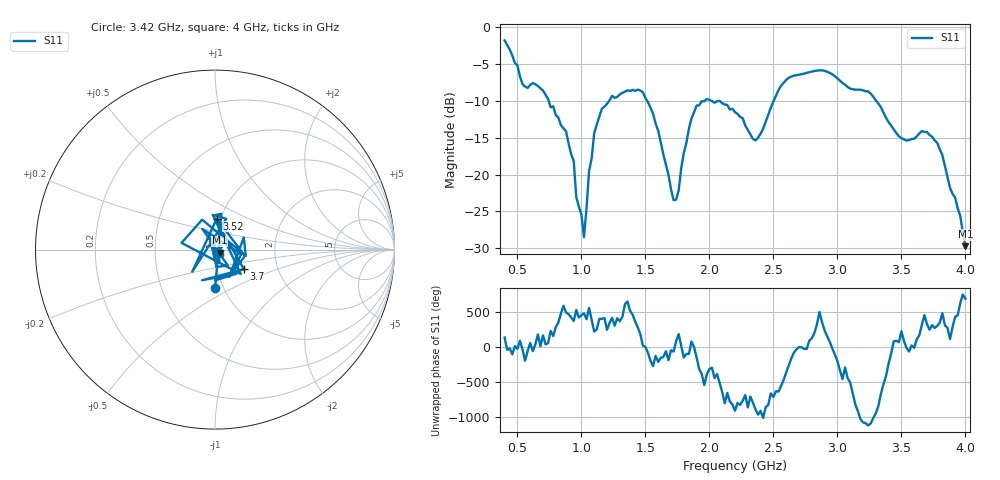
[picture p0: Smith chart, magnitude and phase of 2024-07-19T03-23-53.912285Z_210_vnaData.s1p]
!Created with skrf (http://scikit-rf.org).
# Hz S RI R 50.0
!freq ReS11 ImS11
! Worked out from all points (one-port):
!   181 points, 400 MHz to 4 GHz, reference 50 ohm
!   lowest |S11| = -29.7 dB at 4 GHz (marker M1), VSWR 1.07, Z = 52.8 - j1.88 ohm
!   |S11| at or under -10 dB: 744.4 MHz to 1.217 GHz (472.7 MHz wide, 48.2 % of centre); 2.017 GHz to 2.502 GHz (485.3 MHz wide, 21.5 % of centre); 3.304 GHz to end of sweep (the widest 3 of 4)
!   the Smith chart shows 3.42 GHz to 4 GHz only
!   S11 on the Smith chart (normalised r, x): 3.42 GHz: 0.91, -0.41; 3.52 GHz: 0.96, +0.34; 3.7 GHz: 1.34, -0.30; 4 GHz: 1.06, -0.04
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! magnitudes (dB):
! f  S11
! 400 MHz  -1.8
! 540 MHz  -7.7
! 700 MHz  -8.6
! 860 MHz  -13.7
! 940 MHz  -18.2
! 960 MHz  -23.0
! 1.02 GHz  -28.5
! 1.06 GHz  -19.5
! 1.1 GHz  -14.4
! 1.16 GHz  -11.1
! 1.3 GHz  -9.1
! 1.48 GHz  -8.8
! 1.6 GHz  -14.0
! 1.72 GHz  -23.5
! 1.76 GHz  -22.1
! 1.84 GHz  -13.8
! 1.9 GHz  -10.6
! 2.2 GHz  -11.5
! 2.36 GHz  -15.4
! 2.66 GHz  -6.6
! 3.1 GHz  -8.3
! 3.24 GHz  -8.7
! 3.42 GHz  -13.3
! 3.52 GHz  -15.2
! 3.56 GHz  -15.3
! 3.7 GHz  -14.2
! 3.82 GHz  -17.4
! 4 GHz  -29.7
